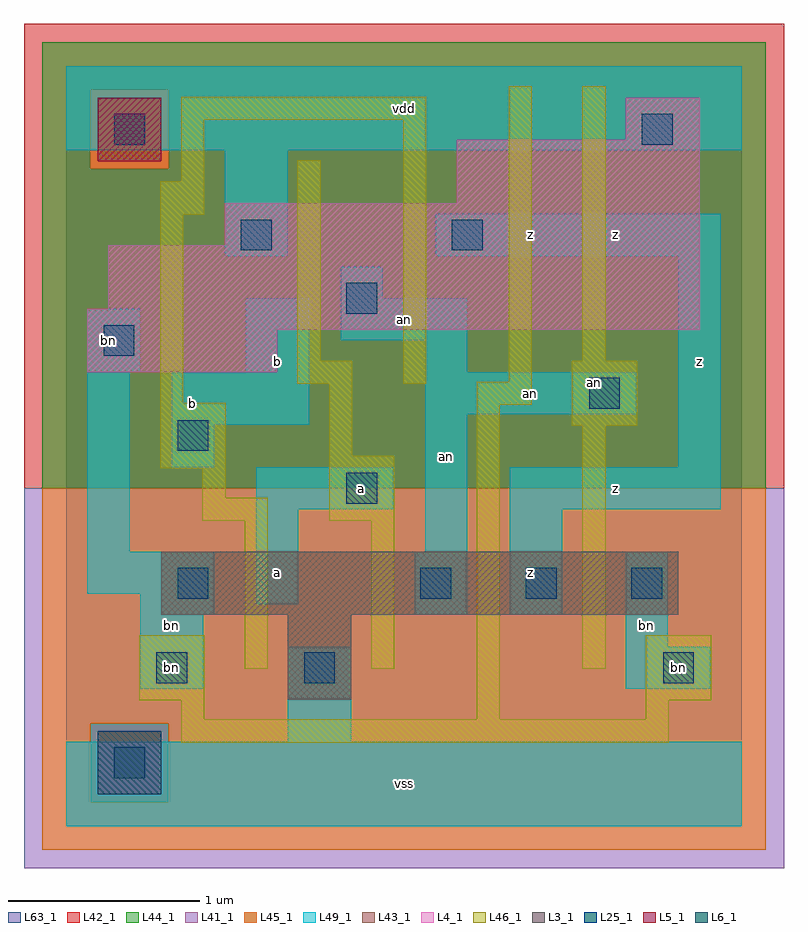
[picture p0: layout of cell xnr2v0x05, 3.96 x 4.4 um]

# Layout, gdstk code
import gdstk
lib = gdstk.Library(unit=1e-6, precision=1e-09)
def R(c, l, rs):  # rectangles x0, y0, x1, y1
    for r in rs: c.add(gdstk.rectangle(r[:2], r[2:], *l))
def A(c, l, x, y, w, h, nx, ny, dx, dy):  # array of equal rectangles
    R(c, l, [(x+i*dx, y+j*dy, x+i*dx+w, y+j*dy+h) for i in range(nx) for j in range(ny)])
L3_1 = (3, 1)
L4_1 = (4, 1)
L5_1 = (5, 1)
L6_1 = (6, 1)
L25_1 = (25, 1)
L41_1 = (41, 1)
L42_1 = (42, 1)
L43_1 = (43, 1)
L44_1 = (44, 1)
L45_1 = (45, 1)
L46_1 = (46, 1)
L49_1 = (49, 1)
L63_1 = (63, 1)

xnr2v0x05 = lib.new_cell('xnr2v0x05')
R(xnr2v0x05, L3_1, [(1.155,0.66,1.485,1.1), (0.495,1.1,3.19,1.43)])
R(xnr2v0x05, L4_1, [(0.11,2.365,1.1,2.585), (0.11,2.585,3.3,2.695), (0.22,2.695,3.3,3.025), (0.825,3.025,3.3,3.245), (2.035,3.245,3.3,3.575), (2.915,3.575,3.3,3.795)])
R(xnr2v0x05, L5_1, [(0.165,3.465,0.495,3.795)])
R(xnr2v0x05, L6_1, [(0.165,0.165,0.495,0.495)])
A(xnr2v0x05, L25_1, 1.845, 1.185, 0.16, 0.16, 3, 1, 0.55, 0)
R(xnr2v0x05, L25_1, [(0.25,0.25,0.41,0.41), (0.47,0.745,0.63,0.905), (1.24,0.745,1.4,0.905), (3.11,0.745,3.27,0.905), (0.58,1.185,0.74,1.345), (1.46,1.68,1.62,1.84), (0.58,1.955,0.74,2.115), (2.725,2.175,2.885,2.335), (0.195,2.45,0.355,2.61), (1.46,2.67,1.62,2.83), (0.91,3,1.07,3.16), (2.01,3,2.17,3.16), (0.25,3.55,0.41,3.71), (3,3.55,3.16,3.71)])
R(xnr2v0x05, L41_1, [(-0.22,-0.22,3.74,1.76)])
R(xnr2v0x05, L42_1, [(-0.22,1.76,3.74,4.18)])
R(xnr2v0x05, L43_1, [(0.165,0.165,0.495,0.495), (1.155,0.66,1.485,1.1), (0.495,1.1,3.19,1.43), (0.11,2.365,1.1,2.585), (0.11,2.585,3.3,2.695), (0.22,2.695,3.3,3.025), (0.825,3.025,3.3,3.245), (2.035,3.245,3.3,3.575), (0.165,3.465,0.495,3.795), (2.915,3.575,3.3,3.795)])
R(xnr2v0x05, L44_1, [(0.125,0.125,0.535,0.535), (-0.125,1.76,3.645,3.425), (-0.125,3.425,0.125,3.835), (0.535,3.425,3.645,3.835), (-0.125,3.835,3.645,4.085)])
R(xnr2v0x05, L45_1, [(-0.125,-0.125,3.645,0.125), (-0.125,0.125,0.125,0.535), (0.535,0.125,3.645,0.535), (-0.125,0.535,3.645,1.76), (0.125,3.425,0.535,3.835)])
R(xnr2v0x05, L46_1, [(0.6,0.435,3.14,0.555), (0.6,0.555,0.72,0.655), (2.14,0.555,2.26,2.195), (3.02,0.555,3.14,0.655), (0.38,0.655,0.72,0.995), (3.02,0.655,3.36,0.995), (0.93,0.82,1.05,1.59), (1.59,0.82,1.71,1.59), (2.69,0.82,2.81,2.085), (0.71,1.59,1.05,1.71), (1.37,1.59,1.71,1.93), (0.71,1.71,0.83,1.865), (0.49,1.865,0.83,2.205), (1.37,1.93,1.49,2.305), (2.635,2.085,2.975,2.425), (2.14,2.195,2.425,2.315), (0.49,2.205,0.61,3.185), (1.205,2.305,1.49,2.425), (1.755,2.305,1.875,3.68), (2.305,2.315,2.425,3.855), (1.205,2.425,1.325,3.47), (2.69,2.425,2.81,3.855), (0.49,3.185,0.72,3.36), (0.6,3.36,0.72,3.68), (0.6,3.68,1.875,3.8)])
R(xnr2v0x05, L49_1, [(0,0,3.52,0.44), (1.155,0.44,1.485,0.935), (0.385,0.715,0.715,1.1), (2.915,0.715,3.355,0.935), (2.915,0.935,3.135,1.43), (0.385,1.1,0.77,1.21), (1.815,1.1,2.09,1.43), (2.31,1.1,2.585,1.65), (0.99,1.155,1.21,1.65), (0.11,1.21,0.77,1.43), (0.11,1.43,0.33,2.365), (1.87,1.43,2.09,2.145), (0.99,1.65,1.705,1.87), (2.31,1.65,3.41,1.87), (0.55,1.87,0.77,2.09), (3.19,1.87,3.41,2.97), (0.55,2.09,1.265,2.365), (1.87,2.145,2.97,2.365), (0.11,2.365,0.385,2.695), (0.935,2.365,1.265,2.75), (1.87,2.365,2.09,2.53), (1.43,2.53,2.09,2.75), (1.43,2.75,1.65,2.915), (0.825,2.97,1.155,3.52), (1.925,2.97,3.41,3.19), (0,3.52,3.52,3.96)])
R(xnr2v0x05, L63_1, [(0,0,3.52,3.96)])
xnr2v0x05.add(gdstk.Label('bn', (0.55,0.825), layer=49, texttype=1))
xnr2v0x05.add(gdstk.Label('bn', (3.19,0.825), layer=49, texttype=1))
xnr2v0x05.add(gdstk.Label('an', (2.75,2.31), layer=49, texttype=1))
xnr2v0x05.add(gdstk.Label('bn', (0.55,1.045), layer=49, texttype=1))
xnr2v0x05.add(gdstk.Label('b', (0.66,2.2), layer=49, texttype=1))
xnr2v0x05.add(gdstk.Label('bn', (0.22,2.53), layer=49, texttype=1))
xnr2v0x05.add(gdstk.Label('a', (1.54,1.76), layer=49, texttype=1))
xnr2v0x05.add(gdstk.Label('a', (1.1,1.32), layer=49, texttype=1))
xnr2v0x05.add(gdstk.Label('b', (1.1,2.42), layer=49, texttype=1))
xnr2v0x05.add(gdstk.Label('vss', (1.76,0.22), layer=49, texttype=1))
xnr2v0x05.add(gdstk.Label('z', (2.42,1.32), layer=49, texttype=1))
xnr2v0x05.add(gdstk.Label('an', (1.98,1.925), layer=49, texttype=1))
xnr2v0x05.add(gdstk.Label('an', (1.76,2.64), layer=49, texttype=1))
xnr2v0x05.add(gdstk.Label('z', (2.42,3.08), layer=49, texttype=1))
xnr2v0x05.add(gdstk.Label('vdd', (1.76,3.74), layer=49, texttype=1))
xnr2v0x05.add(gdstk.Label('bn', (3.025,1.045), layer=49, texttype=1))
xnr2v0x05.add(gdstk.Label('z', (2.86,1.76), layer=49, texttype=1))
xnr2v0x05.add(gdstk.Label('an', (2.42,2.255), layer=49, texttype=1))
xnr2v0x05.add(gdstk.Label('z', (3.3,2.42), layer=49, texttype=1))
xnr2v0x05.add(gdstk.Label('z', (2.86,3.08), layer=49, texttype=1))

lib.write_gds('xnr2v0x05.gds')
